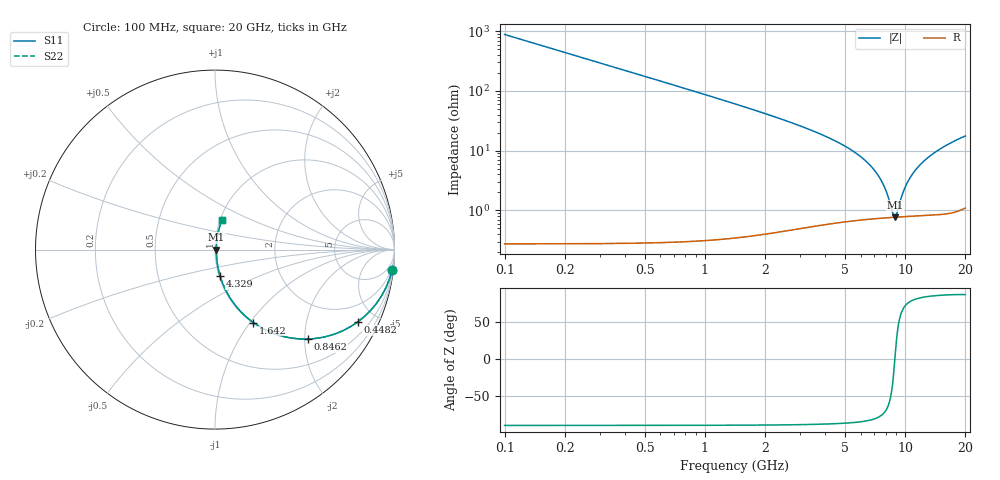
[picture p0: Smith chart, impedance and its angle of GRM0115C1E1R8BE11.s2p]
!Murata Part Number: GRM0115C1E1R8BE11
!These Parameters are Measured in Series Mode Connection
!Data Generated on Mar 30, 2021
!  o--ll--o
!Port1  Port2
!  o------o
!Operation Temp=25[degC], DC Bias Voltage=0[V]
!Freq. Start=100[MHz] Stop=20[GHz] 401[Steps]
# Hz S RI R 50
!Freq.(Hz) S11(Real) S11(Imag) S21(Real) S21(Imag) S12(Real) S12(Imag) S22(Real) S22(Imag)
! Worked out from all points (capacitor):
!   401 points, 100 MHz to 20 GHz, reference 50 ohm
!   read as one part in series: C = 1.8 pF near 199.5 MHz
!   lowest |Z| = 768 mohm at 8.906 GHz (marker M1)
!   series resonance near 8.89 GHz, so ESL is about 180 pH
!   S11 on the Smith chart (normalised r, x): 100 MHz: 1, -18; 448.2 MHz: 1.01, -3.93; 846.2 MHz: 1.01, -2.07; 1.642 GHz: 1.01, -1.04; 4.329 GHz: 1.01, -0.31; 20 GHz: 1.02, +0.35
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1e8  0.9873 -0.1117  0.0127 0.1117  0.0127 0.1117  0.9873 -0.1117
2.99e8  0.8969 -0.3036  0.1031 0.3036  0.1031 0.3036  0.8969 -0.3036
4.4825e8  0.7943 -0.4035  0.2057 0.4035  0.2057 0.4035  0.7943 -0.4035
8.4625e8  0.5168 -0.4983  0.4832 0.4983  0.4832 0.4983  0.5168 -0.4983
1.1945e9  0.3455 -0.4733  0.6545 0.4733  0.6545 0.4733  0.3455 -0.4733
1.64225e9  0.2134 -0.4062  0.7866 0.4062  0.7866 0.4062  0.2134 -0.4062
2.3885e9  0.1075 -0.3034  0.8925 0.3034  0.8925 0.3034  0.1075 -0.3034
3.43325e9  0.0496 -0.2052  0.9504 0.2052  0.9504 0.2052  0.0496 -0.2052
4.32875e9  0.0287 -0.1487  0.9713 0.1487  0.9713 0.1487  0.0287 -0.1487
6.7665e9  0.00996 -0.0532  0.99 0.0532  0.99 0.0532  0.00996 -0.0532
7.81125e9  0.00802 -0.025  0.992 0.025  0.992 0.025  0.00802 -0.025
8.20925e9  0.00772 -0.0154  0.9923 0.0154  0.9923 0.0154  0.00772 -0.0154
8.70675e9  0.0076 -0.00401  0.9924 0.00401  0.9924 0.00401  0.0076 -0.00401
8.90575e9  0.00762 0.000342  0.9924 -0.000342  0.9924 -0.000342  0.00762 0.000342
9.055e9  0.00766 0.00354  0.9923 -0.00354  0.9923 -0.00354  0.00766 0.00354
9.60225e9  0.00796 0.0148  0.992 -0.0148  0.992 -0.0148  0.00796 0.0148
1.005e10  0.00836 0.0236  0.9916 -0.0236  0.9916 -0.0236  0.00836 0.0236
1.0647e10  0.00911 0.0348  0.9909 -0.0348  0.9909 -0.0348  0.00911 0.0348
1.139325e10  0.0103 0.0481  0.9897 -0.0481  0.9897 -0.0481  0.0103 0.0481
1.338325e10  0.0148 0.0803  0.9852 -0.0803  0.9852 -0.0803  0.0148 0.0803
1.67165e10  0.0255 0.1275  0.9745 -0.1275  0.9745 -0.1275  0.0255 0.1275
2e10  0.0398 0.167  0.9602 -0.167  0.9602 -0.167  0.0398 0.167
